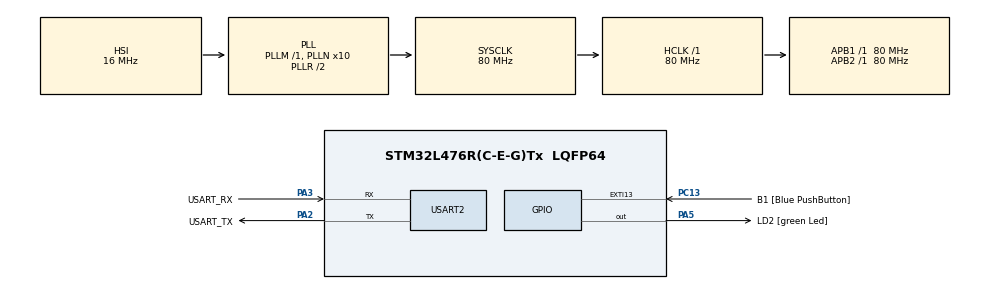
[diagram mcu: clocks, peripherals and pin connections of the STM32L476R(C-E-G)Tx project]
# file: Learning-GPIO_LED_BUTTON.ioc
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Mcu.Family=STM32L4
Mcu.Name=STM32L476R(C-E-G)Tx
Mcu.Package=LQFP64
NVIC.EXTI15_10_IRQn=true\:0\:0\:false\:false\:true\:true\:true\:true
NVIC.PriorityGroup=NVIC_PRIORITYGROUP_4
NVIC.TIM1_UP_TIM16_IRQn=true\:0\:0\:false\:false\:true\:true\:true\:true
PA13\ (JTMS-SWDIO).GPIO_Label=TMS
PA13\ (JTMS-SWDIO).Mode=Serial_Wire
PA13\ (JTMS-SWDIO).Signal=SYS_JTMS-SWDIO
PA14\ (JTCK-SWCLK).GPIO_Label=TCK
PA14\ (JTCK-SWCLK).Mode=Serial_Wire
PA14\ (JTCK-SWCLK).Signal=SYS_JTCK-SWCLK
PA2.GPIO_Label=USART_TX
PA2.GPIO_Mode=GPIO_MODE_AF_PP
PA2.GPIO_PuPd=GPIO_NOPULL
PA2.GPIO_Speed=GPIO_SPEED_FREQ_VERY_HIGH
PA2.Mode=Asynchronous
PA2.Signal=USART2_TX
PA3.GPIO_Label=USART_RX
PA3.GPIO_Mode=GPIO_MODE_AF_PP
PA3.GPIO_PuPd=GPIO_NOPULL
PA3.GPIO_Speed=GPIO_SPEED_FREQ_VERY_HIGH
PA3.Mode=Asynchronous
PA3.Signal=USART2_RX
PA5.GPIO_Label=LD2 [green Led]
PA5.GPIO_ModeDefaultOutputPP=GPIO_MODE_OUTPUT_PP
PA5.GPIO_PuPd=GPIO_NOPULL
PA5.GPIO_Speed=GPIO_SPEED_FREQ_LOW
PA5.Signal=GPIO_Output
PB3\ (JTDO-TRACESWO).GPIO_Label=SWO
PB3\ (JTDO-TRACESWO).Signal=SYS_JTDO-SWO
PC13.GPIO_Label=B1 [Blue PushButton]
PC13.GPIO_ModeDefaultEXTI=GPIO_MODE_IT_FALLING
PC13.GPIO_PuPd=GPIO_NOPULL
PC13.Signal=GPXTI13
PC14-OSC32_IN\ (PC14).Mode=LSE-External-Oscillator
PC14-OSC32_IN\ (PC14).Signal=RCC_OSC32_IN
PC15-OSC32_OUT\ (PC15).Mode=LSE-External-Oscillator
PC15-OSC32_OUT\ (PC15).Signal=RCC_OSC32_OUT
PH0-OSC_IN\ (PH0).Signal=RCC_OSC_IN
PH1-OSC_OUT\ (PH1).Signal=RCC_OSC_OUT
ProjectManager.HeapSize=0x200
ProjectManager.StackSize=0x400
ProjectManager.TargetToolchain=STM32CubeIDE
RCC.ADCFreq_Value=64000000
RCC.AHBFreq_Value=80000000
RCC.APB1Freq_Value=80000000
RCC.APB1TimFreq_Value=80000000
RCC.APB2Freq_Value=80000000
RCC.APB2TimFreq_Value=80000000
RCC.CortexFreq_Value=80000000
RCC.HCLKFreq_Value=80000000
RCC.HSE_VALUE=8000000
RCC.HSI_VALUE=16000000
RCC.MSI_VALUE=4000000
RCC.PLLN=10
RCC.PLLSourceVirtual=RCC_PLLSOURCE_HSI
RCC.PREFETCH_ENABLE=1
RCC.SYSCLKFreq_VALUE=80000000
RCC.SYSCLKSource=RCC_SYSCLKSOURCE_PLLCLK
RCC.USBFreq_Value=64000000
RCC.VCOOutputFreq_Value=160000000
TIM16.AutoReloadPreload=TIM_AUTORELOAD_PRELOAD_ENABLE
TIM16.Period=1000
TIM16.Prescaler=8000
USART2.VirtualMode-Asynchronous=VM_ASYNC
VP_TIM16_VS_ClockSourceINT.Mode=Enable_Timer
board=NUCLEO-L476RG

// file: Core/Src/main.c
/* USER CODE BEGIN Header */
/**
  ******************************************************************************
  * @file           : main.c
  * @brief          : Main program body
  ******************************************************************************
  * @attention
  *
  * Copyright (c) 2023 STMicroelectronics.
  * All rights reserved.
  *
  * This software is licensed under terms that can be found in the LICENSE file
  * in the root directory of this software component.
  * If no LICENSE file comes with this software, it is provided AS-IS.
  *
  ******************************************************************************
  */
/* USER CODE END Header */
#include "main.h"

TIM_HandleTypeDef htim16;

UART_HandleTypeDef huart2;

/* USER CODE BEGIN PV */
int etat = 0;
int toggle_flag = 0;
/* USER CODE END PV */

void SystemClock_Config(void);
static void MX_GPIO_Init(void);
static void MX_USART2_UART_Init(void);
static void MX_TIM16_Init(void);

int main(void)
{

  /* MCU Configuration--------------------------------------------------------*/

  /* Reset of all peripherals, Initializes the Flash interface and the Systick. */
  HAL_Init();

  /* Configure the system clock */
  SystemClock_Config();

  /* Initialize all configured peripherals */
  MX_GPIO_Init();
  MX_USART2_UART_Init();
  MX_TIM16_Init();
  /* USER CODE BEGIN 2 */
  // Start timer with interrupt
  HAL_TIM_Base_Start_IT(&htim16);
  /* USER CODE END 2 */

  /* Infinite loop */
  /* USER CODE BEGIN WHILE */
  while (1)
  {
	/* My code begin */
	switch(etat)
	{
	case 0:
		// Set off the PA5 output
		HAL_GPIO_WritePin(LD2_GPIO_Port, LD2_Pin, GPIO_PIN_RESET);
		// Get out of the switch
		break;
	case 1:
		// Set on the PA5 output
		HAL_GPIO_WritePin(LD2_GPIO_Port, LD2_Pin, GPIO_PIN_SET);
		// Get out of the switch
		break;
	case 2:
		if(toggle_flag == 1)
		{
			// Set toggle the PA5 output
			HAL_GPIO_TogglePin(LD2_GPIO_Port, LD2_Pin);
			// Reset the toggle_flag
			toggle_flag = 0;
		}
		// Get out of the switch
		break;
	default:
		// Go to state 0
		etat = 0;
		// Reset toggle_flag
		toggle_flag = 0;
		// Get out of the switch
		break;
	}
	/* My code end */
    /* USER CODE END WHILE */

  }
}

void SystemClock_Config(void)
{
  RCC_OscInitTypeDef RCC_OscInitStruct = {0};
  RCC_ClkInitTypeDef RCC_ClkInitStruct = {0};

  /** Configure the main internal regulator output voltage
  */
  if (HAL_PWREx_ControlVoltageScaling(PWR_REGULATOR_VOLTAGE_SCALE1) != HAL_OK)
  {
    Error_Handler();
  }

  /** Initializes the RCC Oscillators according to the specified parameters
  * in the RCC_OscInitTypeDef structure.
  */
  RCC_OscInitStruct.OscillatorType = RCC_OSCILLATORTYPE_HSI;
  RCC_OscInitStruct.HSIState = RCC_HSI_ON;
  RCC_OscInitStruct.HSICalibrationValue = RCC_HSICALIBRATION_DEFAULT;
  RCC_OscInitStruct.PLL.PLLState = RCC_PLL_ON;
  RCC_OscInitStruct.PLL.PLLSource = RCC_PLLSOURCE_HSI;
  RCC_OscInitStruct.PLL.PLLM = 1;
  RCC_OscInitStruct.PLL.PLLN = 10;
  RCC_OscInitStruct.PLL.PLLP = RCC_PLLP_DIV7;
  RCC_OscInitStruct.PLL.PLLQ = RCC_PLLQ_DIV2;
  RCC_OscInitStruct.PLL.PLLR = RCC_PLLR_DIV2;
  if (HAL_RCC_OscConfig(&RCC_OscInitStruct) != HAL_OK)
  {
    Error_Handler();
  }

  /** Initializes the CPU, AHB and APB buses clocks
  */
  RCC_ClkInitStruct.ClockType = RCC_CLOCKTYPE_HCLK|RCC_CLOCKTYPE_SYSCLK
                              |RCC_CLOCKTYPE_PCLK1|RCC_CLOCKTYPE_PCLK2;
  RCC_ClkInitStruct.SYSCLKSource = RCC_SYSCLKSOURCE_PLLCLK;
  RCC_ClkInitStruct.AHBCLKDivider = RCC_SYSCLK_DIV1;
  RCC_ClkInitStruct.APB1CLKDivider = RCC_HCLK_DIV1;
  RCC_ClkInitStruct.APB2CLKDivider = RCC_HCLK_DIV1;

  if (HAL_RCC_ClockConfig(&RCC_ClkInitStruct, FLASH_LATENCY_4) != HAL_OK)
  {
    Error_Handler();
  }
}

static void MX_TIM16_Init(void)
{

  htim16.Instance = TIM16;
  htim16.Init.Prescaler = 8000;
  htim16.Init.CounterMode = TIM_COUNTERMODE_UP;
  htim16.Init.Period = 1000;
  htim16.Init.ClockDivision = TIM_CLOCKDIVISION_DIV1;
  htim16.Init.RepetitionCounter = 0;
  htim16.Init.AutoReloadPreload = TIM_AUTORELOAD_PRELOAD_ENABLE;
  if (HAL_TIM_Base_Init(&htim16) != HAL_OK)
  {
    Error_Handler();
  }

}

static void MX_USART2_UART_Init(void)
{

  huart2.Instance = USART2;
  huart2.Init.BaudRate = 115200;
  huart2.Init.WordLength = UART_WORDLENGTH_8B;
  huart2.Init.StopBits = UART_STOPBITS_1;
  huart2.Init.Parity = UART_PARITY_NONE;
  huart2.Init.Mode = UART_MODE_TX_RX;
  huart2.Init.HwFlowCtl = UART_HWCONTROL_NONE;
  huart2.Init.OverSampling = UART_OVERSAMPLING_16;
  huart2.Init.OneBitSampling = UART_ONE_BIT_SAMPLE_DISABLE;
  huart2.AdvancedInit.AdvFeatureInit = UART_ADVFEATURE_NO_INIT;
  if (HAL_UART_Init(&huart2) != HAL_OK)
  {
    Error_Handler();
  }

}

static void MX_GPIO_Init(void)
{
  GPIO_InitTypeDef GPIO_InitStruct = {0};

  /* GPIO Ports Clock Enable */
  __HAL_RCC_GPIOC_CLK_ENABLE();
  __HAL_RCC_GPIOH_CLK_ENABLE();
  __HAL_RCC_GPIOA_CLK_ENABLE();
  __HAL_RCC_GPIOB_CLK_ENABLE();

  /*Configure GPIO pin Output Level */
  HAL_GPIO_WritePin(LD2_GPIO_Port, LD2_Pin, GPIO_PIN_RESET);

  /*Configure GPIO pin : B1_Pin */
  GPIO_InitStruct.Pin = B1_Pin;
  GPIO_InitStruct.Mode = GPIO_MODE_IT_FALLING;
  GPIO_InitStruct.Pull = GPIO_NOPULL;
  HAL_GPIO_Init(B1_GPIO_Port, &GPIO_InitStruct);

  /*Configure GPIO pin : LD2_Pin */
  GPIO_InitStruct.Pin = LD2_Pin;
  GPIO_InitStruct.Mode = GPIO_MODE_OUTPUT_PP;
  GPIO_InitStruct.Pull = GPIO_NOPULL;
  GPIO_InitStruct.Speed = GPIO_SPEED_FREQ_LOW;
  HAL_GPIO_Init(LD2_GPIO_Port, &GPIO_InitStruct);

  /* EXTI interrupt init*/
  HAL_NVIC_SetPriority(EXTI15_10_IRQn, 0, 0);
  HAL_NVIC_EnableIRQ(EXTI15_10_IRQn);

}

/* USER CODE BEGIN 4 */
// Callback: timer has rolled over
void HAL_TIM_PeriodElapsedCallback(TIM_HandleTypeDef *htim)
{
  // Check which version of the timer triggered this callback
  if (htim == &htim16)
  {
	  // Set the toggle_flag
	  toggle_flag = 1;
  }
}

void HAL_GPIO_EXTI_Callback(uint16_t GPIO_Pin)
{
	if(GPIO_Pin == B1_Pin)
	{
		// The state is incremented
		etat++;
		// If greater than 2 return to 0
		if(etat>2)
		{
			etat = 0;
		}
		// Reset Timer 16 Counter
		__HAL_TIM_SET_COUNTER(&htim16,0);
		//htim16->Instance->CNT=0;
	}
}
/* USER CODE END 4 */

void Error_Handler(void)
{
  __disable_irq();
  while (1)
  {
  }
}
